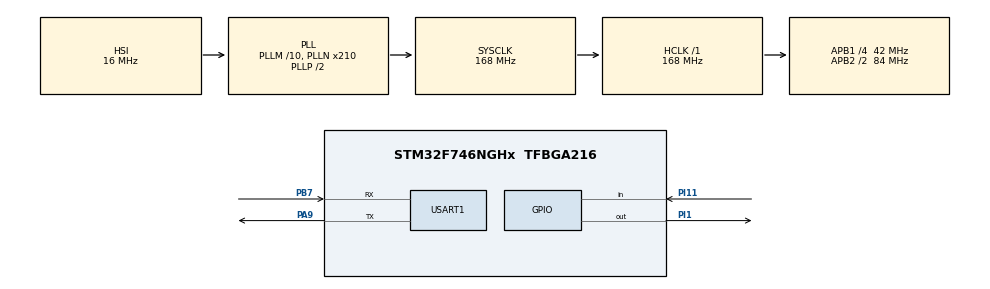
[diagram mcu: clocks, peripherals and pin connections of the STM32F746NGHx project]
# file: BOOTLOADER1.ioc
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CORTEX_M7.AccessPermission_S-Cortex_Memory_Protection_Unit_Region1_Settings_S=MPU_REGION_FULL_ACCESS
CORTEX_M7.AccessPermission_Spec=MPU_REGION_PRIV_RO_URO
CORTEX_M7.BaseAddress_S-Cortex_Memory_Protection_Unit_Region1_Settings_S=0x08010000
CORTEX_M7.BaseAddress_Spec=0x08000000
CORTEX_M7.DisableExec_S-Cortex_Memory_Protection_Unit_Region1_Settings_S=MPU_INSTRUCTION_ACCESS_DISABLE
CORTEX_M7.DisableExec_Spec=MPU_INSTRUCTION_ACCESS_ENABLE
CORTEX_M7.Enable_S-Cortex_Memory_Protection_Unit_Region1_Settings_S=MPU_REGION_ENABLE
CORTEX_M7.IsCacheable_S-Cortex_Memory_Protection_Unit_Region1_Settings_S=MPU_ACCESS_NOT_CACHEABLE
CORTEX_M7.IsCacheable_Spec=MPU_ACCESS_CACHEABLE
CORTEX_M7.IsShareable_Spec=MPU_ACCESS_NOT_SHAREABLE
CORTEX_M7.Size_S-Cortex_Memory_Protection_Unit_Region1_Settings_S=MPU_REGION_SIZE_32KB
CORTEX_M7.Size_Spec=MPU_REGION_SIZE_64KB
CORTEX_M7.SubRegionDisable_Spec=0x0
CORTEX_M7.default_mode_Activation=1
Mcu.Family=STM32F7
Mcu.Name=STM32F746NGHx
Mcu.Package=TFBGA216
NVIC.PriorityGroup=NVIC_PRIORITYGROUP_4
PA13.Mode=Serial_Wire
PA13.Signal=SYS_JTMS-SWDIO
PA14.Mode=Serial_Wire
PA14.Signal=SYS_JTCK-SWCLK
PA9.Mode=Asynchronous
PA9.Signal=USART1_TX
PB7.Mode=Asynchronous
PB7.Signal=USART1_RX
PI1.Signal=GPIO_Output
PI11.Signal=GPIO_Input
ProjectManager.HeapSize=0x200
ProjectManager.StackSize=0x400
ProjectManager.TargetToolchain=STM32CubeIDE
RCC.AHBFreq_Value=168000000
RCC.APB1CLKDivider=RCC_HCLK_DIV4
RCC.APB1Freq_Value=42000000
RCC.APB1TimFreq_Value=84000000
RCC.APB2CLKDivider=RCC_HCLK_DIV2
RCC.APB2Freq_Value=84000000
RCC.APB2TimFreq_Value=168000000
RCC.CortexFreq_Value=168000000
RCC.HCLKFreq_Value=168000000
RCC.HSE_VALUE=25000000
RCC.HSI_VALUE=16000000
RCC.LSE_VALUE=32768
RCC.PLLM=10
RCC.PLLN=210
RCC.PLLSourceVirtual=RCC_PLLSOURCE_HSI
RCC.SYSCLKFreq_VALUE=168000000
RCC.SYSCLKSource=RCC_SYSCLKSOURCE_PLLCLK
RCC.USBFreq_Value=168000000
RCC.VCOOutputFreq_Value=336000000
USART1.VirtualMode-Asynchronous=VM_ASYNC
board=STM32F746G-DISCO

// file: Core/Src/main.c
/* USER CODE BEGIN Header */
/**
  ******************************************************************************
  * @file           : main.c
  * @brief          : Main program body
  ******************************************************************************
  * @attention
  *
  * Copyright (c) 2025 STMicroelectronics.
  * All rights reserved.
  *
  * This software is licensed under terms that can be found in the LICENSE file
  * in the root directory of this software component.
  * If no LICENSE file comes with this software, it is provided AS-IS.
  *
  ******************************************************************************
  */
/* USER CODE END Header */
#include "main.h"

/* USER CODE BEGIN Includes */
#include "mem_layout.h"
#include "tiny_printf.h"
#include "jump_to_app.h"
#include "BL_Functions.h"

#include "Cryptology_Control.h"
#include "firmware_footer.h" // For struct definition
#include "keys.h"
#include <string.h>

//Left them for test Functions
#include "sha256.h"
#include "aes.h"
#include "cbc_mode.h"
#include "ecc_dsa.h"
#include "ecc.h"
//#include <stdio.h>
/* USER CODE END Includes */

UART_HandleTypeDef huart1;

/* USER CODE BEGIN PV */
BootConfig_t config;
/* USER CODE END PV */

void SystemClock_Config(void);
static void MPU_Config(void);
static void MX_GPIO_Init(void);
static void MX_USART1_UART_Init(void);

int main(void)
{

  /* MPU Configuration--------------------------------------------------------*/
  MPU_Config();

  /* MCU Configuration--------------------------------------------------------*/

  /* Reset of all peripherals, Initializes the Flash interface and the Systick. */
  HAL_Init();

  /* Configure the system clock */
  SystemClock_Config();

  /* Initialize all configured peripherals */
  MX_GPIO_Init();
  MX_USART1_UART_Init();
  /* USER CODE BEGIN 2 */

  tfp_init(&huart1);
  printf("\r\n========================================\r\n");
  printf("Starting Bootloader Version-(%d,%d)\r\n", 1, 7);
  printf("========================================\r\n");

  if (BL_ReadConfig(&config)) {
      printf("[BL] Config Invalid/Empty. Initialized to Defaults.\r\n");
      BL_WriteConfig(&config);
  }

  //Check User Button
  if (HAL_GPIO_ReadPin(GPIOI, GPIO_PIN_11) == GPIO_PIN_SET) {
	  printf("[BL] Button Pressed! Determining Mode...\r\n");

	//Check Firmware in Download Slot
	FW_Status_t status = Firmware_Is_Valid(APP_DOWNLOAD_START_ADDR, SLOT_SIZE);

	if (status == BL_OK) {
		printf(" -> Valid Footer Found. Requesting UPDATE.\r\n");
		config.system_status = STATE_UPDATE_REQ;
	}
	else {
		// No New Update found.
		// We assume the user wants to SWAP (Rollback) to the other app.
		// Optional: Check if S6 is empty (0xFFFFFFFF) to prevent swapping with nothing.
		uint32_t *s6_ptr = (uint32_t*)APP_DOWNLOAD_START_ADDR;
		if (*s6_ptr == 0xFFFFFFFF) {
		   printf(" -> Download Slot is Empty. Cannot Swap.\r\n");
		   config.system_status = STATE_NORMAL;
		}
		else {
		   printf(" -> Download Slot has data (Backup). Requesting SWAP/ROLLBACK.\r\n");
		   config.system_status = STATE_ROLLBACK; // <--- This performs the swap
}
	}
  }

  // 3. State Machine
  switch(config.system_status){
      case STATE_UPDATE_REQ:
          printf("[BL] State: UPDATE REQUESTED.\r\n");
          BL_Swap_NoBuffer();

          printf("[BL] Update Process Finished/Failed. Clearing state.\r\n");
          config.system_status = STATE_NORMAL;
          BL_WriteConfig(&config);
          break;

      case STATE_ROLLBACK:
          // Call new Rollback Function

    	  if(BL_Rollback() != BL_OK){

          printf("[BL] Rollback Failed. Reverting state to NORMAL.\r\n");
          config.system_status = STATE_NORMAL;
          BL_WriteConfig(&config);
          HAL_NVIC_SystemReset();
    	  }

      case STATE_NORMAL:
      default:
          printf("[BL] State: NORMAL. Checking Active Application (S5)...\r\n");

          // Check if S5 contains valid code (Reset Vector check)
          uint32_t *app_reset_vector = (uint32_t*)(APP_ACTIVE_START_ADDR + 4);
          uint32_t app_entry_point = *app_reset_vector;

          if (app_entry_point > APP_ACTIVE_START_ADDR && app_entry_point < (APP_ACTIVE_START_ADDR + SLOT_SIZE))
          {
              printf("[BL] Valid App found at 0x%X. Jumping...\r\n", (unsigned int)APP_ACTIVE_START_ADDR);
              Bootloader_JumpToApp();
          }
          else
          {
              printf("[BL] S5 Empty or Invalid! Checking S6 for Auto-Provisioning...\r\n");

              // Auto-Provision: If S5 empty, check if we uploaded file to S6
              if (Firmware_Is_Valid(APP_DOWNLOAD_START_ADDR, SLOT_SIZE) == BL_OK)
              {
                  printf("[BL] Valid Image found in S6! Triggering Update...\r\n");
                  config.system_status = STATE_UPDATE_REQ;
                  BL_WriteConfig(&config);
                  HAL_NVIC_SystemReset();
              }
              else
              {
                  printf("[ERROR] No valid app in S5, and no update in S6.\r\n");
                  printf("[ERROR] System Halted.\r\n");
                  while(1) {
                      HAL_GPIO_TogglePin(GPIOI, GPIO_PIN_1);
                      HAL_Delay(100);
                  }
              }
          }
          break;
  }
  /* USER CODE END 2 */

  /* Infinite loop */
  while (1)
  {

  }
}

void SystemClock_Config(void)
{
  RCC_OscInitTypeDef RCC_OscInitStruct = {0};
  RCC_ClkInitTypeDef RCC_ClkInitStruct = {0};

  /** Configure the main internal regulator output voltage
  */
  __HAL_RCC_PWR_CLK_ENABLE();
  __HAL_PWR_VOLTAGESCALING_CONFIG(PWR_REGULATOR_VOLTAGE_SCALE2);

  /** Initializes the RCC Oscillators according to the specified parameters
  * in the RCC_OscInitTypeDef structure.
  */
  RCC_OscInitStruct.OscillatorType = RCC_OSCILLATORTYPE_HSI;
  RCC_OscInitStruct.HSIState = RCC_HSI_ON;
  RCC_OscInitStruct.HSICalibrationValue = RCC_HSICALIBRATION_DEFAULT;
  RCC_OscInitStruct.PLL.PLLState = RCC_PLL_ON;
  RCC_OscInitStruct.PLL.PLLSource = RCC_PLLSOURCE_HSI;
  RCC_OscInitStruct.PLL.PLLM = 10;
  RCC_OscInitStruct.PLL.PLLN = 210;
  RCC_OscInitStruct.PLL.PLLP = RCC_PLLP_DIV2;
  RCC_OscInitStruct.PLL.PLLQ = 2;
  if (HAL_RCC_OscConfig(&RCC_OscInitStruct) != HAL_OK)
  {
    Error_Handler();
  }

  /** Initializes the CPU, AHB and APB buses clocks
  */
  RCC_ClkInitStruct.ClockType = RCC_CLOCKTYPE_HCLK|RCC_CLOCKTYPE_SYSCLK
                              |RCC_CLOCKTYPE_PCLK1|RCC_CLOCKTYPE_PCLK2;
  RCC_ClkInitStruct.SYSCLKSource = RCC_SYSCLKSOURCE_PLLCLK;
  RCC_ClkInitStruct.AHBCLKDivider = RCC_SYSCLK_DIV1;
  RCC_ClkInitStruct.APB1CLKDivider = RCC_HCLK_DIV4;
  RCC_ClkInitStruct.APB2CLKDivider = RCC_HCLK_DIV2;

  if (HAL_RCC_ClockConfig(&RCC_ClkInitStruct, FLASH_LATENCY_5) != HAL_OK)
  {
    Error_Handler();
  }
}

static void MX_USART1_UART_Init(void)
{

  huart1.Instance = USART1;
  huart1.Init.BaudRate = 115200;
  huart1.Init.WordLength = UART_WORDLENGTH_8B;
  huart1.Init.StopBits = UART_STOPBITS_1;
  huart1.Init.Parity = UART_PARITY_NONE;
  huart1.Init.Mode = UART_MODE_TX_RX;
  huart1.Init.HwFlowCtl = UART_HWCONTROL_NONE;
  huart1.Init.OverSampling = UART_OVERSAMPLING_16;
  huart1.Init.OneBitSampling = UART_ONE_BIT_SAMPLE_DISABLE;
  huart1.AdvancedInit.AdvFeatureInit = UART_ADVFEATURE_NO_INIT;
  if (HAL_UART_Init(&huart1) != HAL_OK)
  {
    Error_Handler();
  }

}

static void MX_GPIO_Init(void)
{
  GPIO_InitTypeDef GPIO_InitStruct = {0};

  /* GPIO Ports Clock Enable */
  __HAL_RCC_GPIOA_CLK_ENABLE();
  __HAL_RCC_GPIOB_CLK_ENABLE();
  __HAL_RCC_GPIOI_CLK_ENABLE();

  /*Configure GPIO pin Output Level */
  HAL_GPIO_WritePin(GPIOI, GPIO_PIN_1, GPIO_PIN_RESET);

  /*Configure GPIO pin : PI1 */
  GPIO_InitStruct.Pin = GPIO_PIN_1;
  GPIO_InitStruct.Mode = GPIO_MODE_OUTPUT_PP;
  GPIO_InitStruct.Pull = GPIO_NOPULL;
  GPIO_InitStruct.Speed = GPIO_SPEED_FREQ_LOW;
  HAL_GPIO_Init(GPIOI, &GPIO_InitStruct);

  /*Configure GPIO pin : PI11 */
  GPIO_InitStruct.Pin = GPIO_PIN_11;
  GPIO_InitStruct.Mode = GPIO_MODE_INPUT;
  GPIO_InitStruct.Pull = GPIO_NOPULL;
  HAL_GPIO_Init(GPIOI, &GPIO_InitStruct);

}

/* USER CODE BEGIN 4 */
/**
 * @brief   Tests MPU protection of the Bootloader region.
 *
 * @details Attempts to write to the Bootloader flash start address
 *          (0x08000000), which is configured as Read-Only.
 *          A correct MPU configuration must trigger a MemManage Fault.
 *
 * @warning This test is expected to crash the system.
 *
 * @retval  None
 */
void Test_MPU_Violation(void)
{
    printf("\r\n[TEST] 1. Testing Bootloader Protection (Expect Crash)...\r\n");
    HAL_Delay(100); // Wait for UART to finish sending

    // Point to the start of Bootloader (Region 0 - Read Only)
    volatile uint32_t *pFlash = (uint32_t *)0x08000000;

    // TRY TO WRITE (This should trigger MemManage Fault)
    *pFlash = 0xDEADBEEF;

    // If code reaches here, MPU FAILED!
    printf("[FAIL] MPU did NOT block the write!\r\n");
}

/**
 * @brief   Tests write access to the configuration flash sector.
 *
 * @details Erases and writes a test word to the configuration sector
 *          at 0x08010000 (Sector 2), which is configured as Read-Write.
 *          Successful execution confirms correct MPU permissions.
 *
 * @retval  None
 *
 Created on: 22 Ara 2025
 *      Author: Oguzm
 */
void Test_Config_Write(void)
{
    printf("\r\n[TEST] 2. Testing Config Sector Write (Expect Success)...\r\n");

    // 1. Unlock Flash
    HAL_FLASH_Unlock();

    // 2. Try to write to 0x08010000 (Region 1)
    // Note: We use HAL function. If MPU was RO, this would fail.
    // Since MPU is RW, this should work.
    uint32_t test_addr = 0x08010000;
    uint32_t test_data = 0x12345678;

    // Erase sector first (Standard Flash procedure)
    FLASH_EraseInitTypeDef EraseInitStruct;
    uint32_t SectorError;
    EraseInitStruct.TypeErase = FLASH_TYPEERASE_SECTORS;
    EraseInitStruct.VoltageRange = FLASH_VOLTAGE_RANGE_3;
    EraseInitStruct.Sector = FLASH_SECTOR_2; // Sector 2 is 0x08010000
    EraseInitStruct.NbSectors = 1;

    if(HAL_FLASHEx_Erase(&EraseInitStruct, &SectorError) == HAL_OK)
    {
        if (HAL_FLASH_Program(FLASH_TYPEPROGRAM_WORD, test_addr, test_data) == HAL_OK)
        {
             printf("[PASS] Successfully wrote to Config Sector.\r\n");
        }
        else
        {
             printf("[FAIL] HAL Flash Program failed (Not MPU related).\r\n");
        }
    }
    else
    {
        printf("[FAIL] Flash Erase failed.\r\n");
    }

    HAL_FLASH_Lock();
}

// --- TEST DATA ---
// A known message hash and signature for verification testing
static const uint8_t TEST_MSG[] = "TestMessage";
static uint8_t test_digest[32];

void BL_Test_Crypto(void) {
    printf("\r\n=== STARTING CRYPTO TEST ===\r\n");

    // ---------------------------------------------------------
    // 1. TEST SHA-256
    // ---------------------------------------------------------
    struct tc_sha256_state_struct sha_state;
    (void)tc_sha256_init(&sha_state);
    (void)tc_sha256_update(&sha_state, TEST_MSG, strlen((char*)TEST_MSG));
    (void)tc_sha256_final(test_digest, &sha_state);

    printf("[TEST] SHA-256: ");
    // Expected hash of "TestMessage" matches? (First 4 bytes check)
    // Hash: 532EAABD...
    if (test_digest[0] == 0x53 && test_digest[1] == 0x2E) {
        printf("PASSED\r\n");
    } else {
        printf("FAILED\r\n");
    }

    // ---------------------------------------------------------
    // 2. TEST AES-CBC DECRYPTION
    // ---------------------------------------------------------
    // "Plaintext123456" (16 bytes)
    uint8_t plaintext[16] = {0x50,0x6c,0x61,0x69,0x6e,0x74,0x65,0x78,0x74,0x31,0x32,0x33,0x34,0x35,0x36};
    uint8_t ciphertext[16];
    uint8_t decrypted[16];
    uint8_t iv[16] = {0}; // Zero IV for test

    // Encrypt manually first (normally done by python script)
    struct tc_aes_key_sched_struct sched;
    (void)tc_aes128_set_encrypt_key(&sched, AES_SECRET_KEY); // Note: Assuming AES_SECRET_KEY is 16 bytes for AES-128

    // NOTE: TinyCrypt CBC requires array of blocks. Here we just test raw block if CBC api is complex
    // Let's test a simple block encryption to verify key schedule
    (void)tc_aes_encrypt(ciphertext, plaintext, &sched);

    // Decrypt
    (void)tc_aes128_set_decrypt_key(&sched, AES_SECRET_KEY);
    (void)tc_aes_decrypt(decrypted, ciphertext, &sched);

    printf("[TEST] AES-ECB Roundtrip: ");
    if (memcmp(plaintext, decrypted, 16) == 0) {
        printf("PASSED\r\n");
    } else {
        printf("FAILED\r\n");
    }

    // ---------------------------------------------------------
    // 3. TEST ECDSA VERIFICATION
    // ---------------------------------------------------------
    // Note: Generating a signature on the MCU is heavy. usually we just verify.
    // For this test, we check if uECC_verify returns valid for the public key.
    // Since we don't have a valid signature for 'TestMessage' signed by the PRIVATE key counterpart
    // of 'ECDSA_public_key_xy', we expect this to FAIL unless we generate one.

    // However, we can check if the public key format is accepted.
    int valid_key = uECC_valid_public_key(ECDSA_public_key_xy, uECC_secp256r1());

    printf("[TEST] Public Key Validation: ");
    if (valid_key) {
        printf("PASSED (Key is valid point)\r\n");
    } else {
        printf("FAILED (Invalid Public Key format)\r\n");
    }

    printf("=== END CRYPTO TEST ===\r\n\n");
}

/* USER CODE END 4 */

 /* MPU Configuration */

void MPU_Config(void)
{
  MPU_Region_InitTypeDef MPU_InitStruct = {0};

  /* Disables the MPU */
  HAL_MPU_Disable();

  /** Initializes and configures the Region and the memory to be protected
  */
  MPU_InitStruct.Enable = MPU_REGION_ENABLE;
  MPU_InitStruct.Number = MPU_REGION_NUMBER0;
  MPU_InitStruct.BaseAddress = 0x08000000;
  MPU_InitStruct.Size = MPU_REGION_SIZE_64KB;
  MPU_InitStruct.SubRegionDisable = 0x0;
  MPU_InitStruct.TypeExtField = MPU_TEX_LEVEL0;
  MPU_InitStruct.AccessPermission = MPU_REGION_PRIV_RO_URO;
  MPU_InitStruct.DisableExec = MPU_INSTRUCTION_ACCESS_ENABLE;
  MPU_InitStruct.IsShareable = MPU_ACCESS_NOT_SHAREABLE;
  MPU_InitStruct.IsCacheable = MPU_ACCESS_CACHEABLE;
  MPU_InitStruct.IsBufferable = MPU_ACCESS_NOT_BUFFERABLE;

  HAL_MPU_ConfigRegion(&MPU_InitStruct);

  /** Initializes and configures the Region and the memory to be protected
  */
  MPU_InitStruct.Number = MPU_REGION_NUMBER1;
  MPU_InitStruct.BaseAddress = 0x08010000;
  MPU_InitStruct.Size = MPU_REGION_SIZE_32KB;
  MPU_InitStruct.AccessPermission = MPU_REGION_FULL_ACCESS;
  MPU_InitStruct.DisableExec = MPU_INSTRUCTION_ACCESS_DISABLE;
  MPU_InitStruct.IsCacheable = MPU_ACCESS_NOT_CACHEABLE;

  HAL_MPU_ConfigRegion(&MPU_InitStruct);
  /* Enables the MPU */
  HAL_MPU_Enable(MPU_PRIVILEGED_DEFAULT);

}

void Error_Handler(void)
{
  __disable_irq();
  while (1)
  {
  }
}
